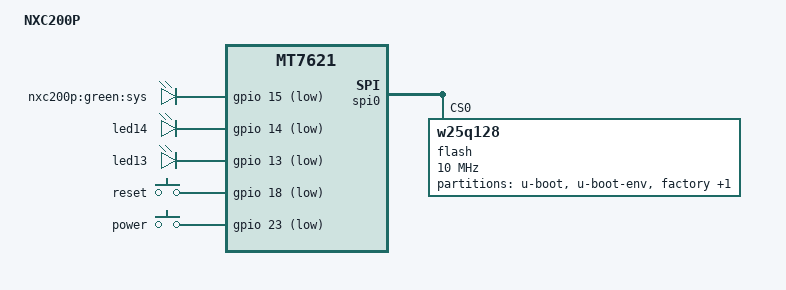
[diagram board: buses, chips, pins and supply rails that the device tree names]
/dts-v1/;

#include "mt7621.dtsi"

#include <dt-bindings/gpio/gpio.h>
#include <dt-bindings/input/input.h>

/ {
	compatible = "xwrt,nxc200p", "mediatek,mt7621-soc";
	model = "NXC200P";

	aliases {
		led-status = &led_sys;
		label-mac-device = &gmac0;
	};

	chosen {
		bootargs = "console=ttyS0,57600";
	};

	leds {
		compatible = "gpio-leds";

		led_sys: sys {
			label = "nxc200p:green:sys";
			gpios = <&gpio 15 1>;
			default-state = "on";
		};

		led14 {
			label = "led14";
			gpios = <&gpio 14 1>;
		};

		led13 {
			label = "led13";
			gpios = <&gpio 13 1>;
		};
	};

	keys {
		compatible = "gpio-keys";

		reset {
			label = "reset";
			gpios = <&gpio 18 1>;
			linux,code = <KEY_RESTART>;
		};

		power {
			label = "power";
			gpios = <&gpio 23 1>;
			linux,code = <KEY_POWER>;
		};
	};
};

&spi0 {
	status = "okay";

	flash@0 {
		compatible = "w25q128";
		reg = <0>;
		linux,modalias = "m25p80";
		spi-max-frequency = <10000000>;

		partitions {
			compatible = "fixed-partitions";
			#address-cells = <1>;
			#size-cells = <1>;

			partition@0 {
				label = "u-boot";
				reg = <0x0 0x30000>;
				read-only;
			};

			partition@30000 {
				label = "u-boot-env";
				reg = <0x30000 0x10000>;
				read-only;
			};

			factory: partition@40000 {
				label = "factory";
				reg = <0x40000 0x10000>;
				read-only;

				nvmem-layout {
					compatible = "fixed-layout";
					#address-cells = <1>;
					#size-cells = <1>;

					macaddr_factory_e000: macaddr@e000 {
						compatible = "mac-base";
						reg = <0xe000 0x6>;
						#nvmem-cell-cells = <1>;
					};
				};
			};

			partition@50000 {
				compatible = "denx,uimage";
				label = "firmware";
				reg = <0x50000 0xfb0000>;
			};
		};
	};
};

&ethernet {
	pinctrl-0 = <&mdio_pins>, <&rgmii1_pins>;
};

&gmac0 {
	nvmem-cells = <&macaddr_factory_e000 0>;
	nvmem-cell-names = "mac-address";
};

&switch0 {
	ports {
		port@0 {
			status = "okay";
			label = "lan1";
		};

		port@1 {
			status = "okay";
			label = "lan2";
		};

		port@2 {
			status = "okay";
			label = "lan3";
		};

		port@3 {
			status = "okay";
			label = "lan4";
		};

		port@4 {
			status = "okay";
			label = "wan";
			nvmem-cells = <&macaddr_factory_e000 1>;
			nvmem-cell-names = "mac-address";
		};
	};
};

&state_default {
	gpio {
		groups = "wdt", "rgmii2", "jtag";
		function = "gpio";
	};
};
